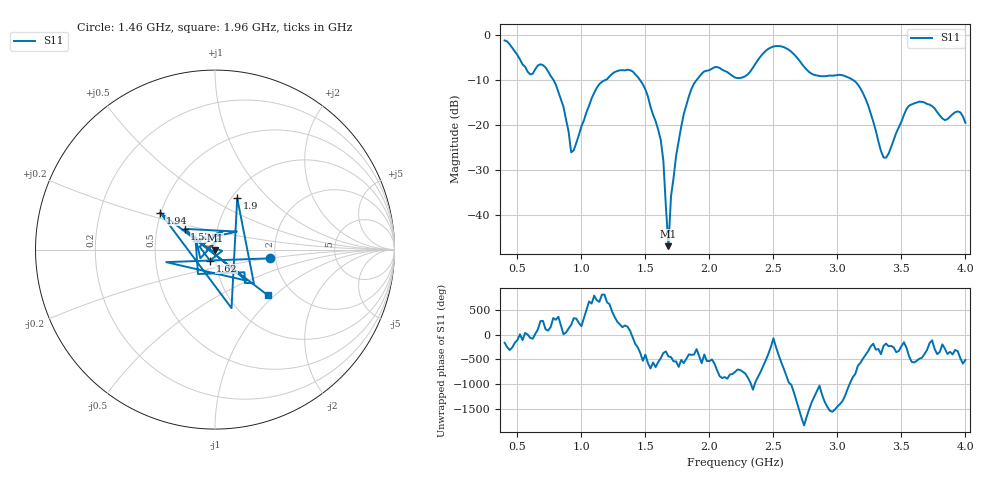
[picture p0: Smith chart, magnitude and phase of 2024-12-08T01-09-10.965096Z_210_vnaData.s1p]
!Created with skrf (http://scikit-rf.org).
# Hz S RI R 50.0
!freq ReS11 ImS11
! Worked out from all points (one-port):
!   181 points, 400 MHz to 4 GHz, reference 50 ohm
!   lowest |S11| = -47.0 dB at 1.68 GHz (marker M1), VSWR 1.01, Z = 50.1 - j0.443 ohm
!   |S11| at or under -10 dB: 780.3 MHz to 1.194 GHz (414.1 MHz wide, 41.9 % of centre); 1.455 GHz to 1.903 GHz (447.6 MHz wide, 26.7 % of centre); 3.117 GHz to end of sweep
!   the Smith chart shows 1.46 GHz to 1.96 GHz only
!   S11 on the Smith chart (normalised r, x): 1.46 GHz: 1.87, -0.20; 1.52 GHz: 0.69, +0.17; 1.62 GHz: 0.94, -0.12; 1.9 GHz: 1.06, +0.67; 1.94 GHz: 0.49, +0.24; 1.96 GHz: 1.51, -0.91
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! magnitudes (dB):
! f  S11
! 400 MHz  -1.3
! 600 MHz  -8.8
! 720 MHz  -7.3
! 860 MHz  -16.0
! 920 MHz  -26.2
! 1.12 GHz  -11.8
! 1.3 GHz  -7.9
! 1.46 GHz  -10.2
! 1.52 GHz  -13.8
! 1.62 GHz  -23.4
! 1.64 GHz  -27.9
! 1.68 GHz  -47.0
! 1.7 GHz  -35.9
! 1.76 GHz  -23.7
! 1.82 GHz  -15.6
! 1.9 GHz  -10.1
! 1.94 GHz  -8.7
! 1.96 GHz  -8.2
! 2.2 GHz  -9.5
! 2.48 GHz  -2.9
! 2.66 GHz  -4.4
! 2.82 GHz  -9.0
! 3.1 GHz  -9.7
! 3.22 GHz  -14.3
! 3.36 GHz  -27.3
! 3.56 GHz  -15.8
! 3.94 GHz  -17.1
! 4 GHz  -19.6
